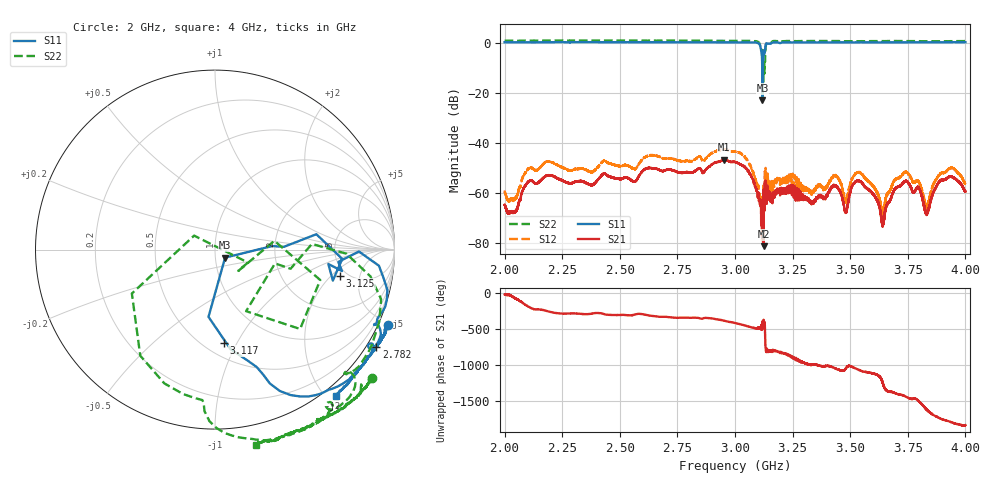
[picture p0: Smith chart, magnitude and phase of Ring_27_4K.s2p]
!Agilent Technologies,N5230C,SG49000117,A.08.50.07
!Agilent N5230C: A.08.50.07
!Date: Tuesday, May 07, 2024 03:07:27
!Correction: S11(Full 2 Port(1,2))
!S21(Full 2 Port(1,2))
!S12(Full 2 Port(1,2))
!S22(Full 2 Port(1,2))
!S2P File: Measurements: S11, S21, S12, S22:
# Hz S  MA  R 50
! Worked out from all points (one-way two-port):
!   20001 points, 2 GHz to 4 GHz, reference 50 ohm
!   highest |S21| = -46.69 dB at 2.954 GHz (marker M1); lowest = -81.4 dB at 3.124 GHz (marker M2)
!   lowest |S11| = -22.9 dB at 3.119 GHz (marker M3), VSWR 1.15, Z = 55.7 - j5.02 ohm
!   |S11| at or under -10 dB: 3.118257 GHz to 3.120581 GHz (2.324 MHz wide, 0.0745 % of centre)
!   |S22| runs from -22.9 to 1.2 dB; largest |S21 - S12| = 0.004
!   S11 on the Smith chart (normalised r, x): 2 GHz: -0.60, -4.71; 2.782 GHz: -0.34, -3.57; 3.117 GHz: 0.62, -0.88; 3.125 GHz: 4.38, -2.57; 4 GHz: -0.15, -2.12
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2e9  1.052 -23.6  0.0005792 -26.6  0.001067 -45.6  1.127 -39.3
2.3334e9  1.058 -26.5  0.001722 66.1  0.003061 46.3  1.134 -44.4
2.6667e9  1.053 -29.5  0.002949 27.0  0.005387 3.3  1.134 -50.0
2.782e9  1.05 -31.1  0.002591 13.7  0.004334 -10.6  1.129 -52.5
2.9535e9  1.047 -34.2  0.004627 -29.1  0.007414 -55.6  1.121 -58.0
3e9  1.044 -35.6  0.004183 -59.1  0.00672 -85.1  1.119 -59.9
3.0973e9  1.023 -48.3  0.0009721 -134.9  0.001354 -165.0  1.083 -77.9
3.1171e9  0.5217 -84.7  0.0002354 -153.7  0.0002352 -172.1  0.6815 -131.6
3.1193e9  0.07189 -38.6  0.0001923 -43.4  0.0001833 -41.6  0.1401 146.2
3.124e9  0.6785 1.0  8.538e-05 -88.0  8.602e-05 -90.2  0.5305 -5.5
3.1253e9  0.7121 -11.7  0.0007405 -47.9  0.001134 -60.3  0.6625 -32.7
3.1421e9  0.9849 -22.5  0.001245 -94.7  0.002177 -111.7  1.031 -36.8
3.3334e9  1.046 -37.1  0.0006207 86.5  0.0009616 63.3  1.114 -61.4
3.4356e9  1.043 -38.9  0.001408 33.7  0.002248 8.3  1.112 -64.8
3.4817e9  1.043 -39.7  0.0004062 36.2  0.0006461 5.6  1.104 -66.1
3.5343e9  1.046 -40.9  0.001721 15.9  0.002581 -11.2  1.106 -67.7
3.6395e9  1.048 -43.6  0.0002337 -152.5  0.0003733 -176.4  1.106 -70.8
3.6667e9  1.049 -44.1  0.0006357 70.5  0.001029 42.4  1.109 -71.6
3.7401e9  1.053 -45.7  0.001743 4.8  0.002643 -24.7  1.111 -73.3
3.8319e9  1.052 -47.0  0.0003878 -177.1  0.0005288 151.9  1.099 -75.5
3.9316e9  1.056 -49.3  0.002114 17.1  0.003105 -9.1  1.106 -77.4
4e9  1.055 -50.4  0.001065 -32.7  0.001488 -64.5  1.111 -78.3
